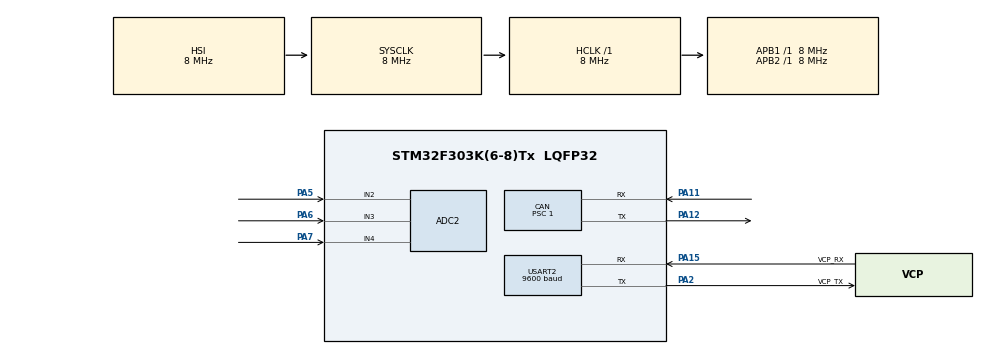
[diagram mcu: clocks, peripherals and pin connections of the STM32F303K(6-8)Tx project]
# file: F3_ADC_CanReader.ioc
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ADC2.Channel-0\#ChannelRegularConversion=ADC_CHANNEL_4
ADC2.Channel-1\#ChannelRegularConversion=ADC_CHANNEL_3
ADC2.Channel-2\#ChannelRegularConversion=ADC_CHANNEL_2
ADC2.ClockPrescaler=ADC_CLOCK_SYNC_PCLK_DIV4
ADC2.ContinuousConvMode=ENABLE
ADC2.DMAContinuousRequests=ENABLE
ADC2.NbrOfConversion=3
ADC2.NbrOfConversionFlag=1
ADC2.Offset-0\#ChannelRegularConversion=0
ADC2.Offset-1\#ChannelRegularConversion=0
ADC2.Offset-2\#ChannelRegularConversion=0
ADC2.OffsetNumber-0\#ChannelRegularConversion=ADC_OFFSET_NONE
ADC2.OffsetNumber-1\#ChannelRegularConversion=ADC_OFFSET_NONE
ADC2.OffsetNumber-2\#ChannelRegularConversion=ADC_OFFSET_NONE
ADC2.Rank-0\#ChannelRegularConversion=1
ADC2.Rank-1\#ChannelRegularConversion=2
ADC2.Rank-2\#ChannelRegularConversion=3
ADC2.SamplingTime-0\#ChannelRegularConversion=ADC_SAMPLETIME_61CYCLES_5
ADC2.SamplingTime-1\#ChannelRegularConversion=ADC_SAMPLETIME_61CYCLES_5
ADC2.SamplingTime-2\#ChannelRegularConversion=ADC_SAMPLETIME_61CYCLES_5
ADC2.SamplingTimeOPAMP-1\#ChannelRegularConversion=ADC_SAMPLETIME_4CYCLES_5
ADC2.SamplingTimeOPAMP-2\#ChannelRegularConversion=ADC_SAMPLETIME_4CYCLES_5
CAN.BS1=CAN_BS1_11TQ
CAN.BS2=CAN_BS2_4TQ
CAN.CalculateBaudRate=500000
CAN.CalculateTimeBit=2000
CAN.CalculateTimeQuantum=125.0
CAN.Prescaler=1
Dma.ADC2.0.Direction=DMA_PERIPH_TO_MEMORY
Dma.ADC2.0.Instance=DMA1_Channel2
Dma.ADC2.0.MemDataAlignment=DMA_MDATAALIGN_HALFWORD
Dma.ADC2.0.MemInc=DMA_MINC_ENABLE
Dma.ADC2.0.Mode=DMA_CIRCULAR
Dma.ADC2.0.PeriphDataAlignment=DMA_PDATAALIGN_HALFWORD
Dma.ADC2.0.PeriphInc=DMA_PINC_DISABLE
Dma.ADC2.0.Priority=DMA_PRIORITY_LOW
Dma.Request0=ADC2
Mcu.Family=STM32F3
Mcu.Name=STM32F303K(6-8)Tx
Mcu.Package=LQFP32
NVIC.CAN_RX0_IRQn=true\:0\:0\:false\:false\:true\:true\:true\:true
NVIC.DMA1_Channel2_IRQn=true\:0\:0\:false\:false\:true\:false\:true\:true
NVIC.PriorityGroup=NVIC_PRIORITYGROUP_4
PA11.Mode=CAN_Activate
PA11.Signal=CAN_RX
PA12.Mode=CAN_Activate
PA12.Signal=CAN_TX
PA13.GPIO_Label=SWDIO
PA13.Mode=Serial_Wire
PA13.Signal=SYS_JTMS-SWDIO
PA14.GPIO_Label=SWCLK
PA14.Mode=Serial_Wire
PA14.Signal=SYS_JTCK-SWCLK
PA15.GPIO_Label=VCP_RX
PA15.Mode=Asynchronous
PA15.Signal=USART2_RX
PA2.GPIO_Label=VCP_TX
PA2.Mode=Asynchronous
PA2.Signal=USART2_TX
PA5.Mode=IN2-Single-Ended
PA5.Signal=ADC2_IN2
PA6.Mode=IN3-Single-Ended
PA6.Signal=ADC2_IN3
PA7.Mode=IN4-Single-Ended
PA7.Signal=ADC2_IN4
PF0\ /\ OSC_IN.GPIO_Label=MCO
PF0\ /\ OSC_IN.Mode=HSE-External-Clock-Source
PF0\ /\ OSC_IN.Signal=RCC_OSC_IN
ProjectManager.HeapSize=0x200
ProjectManager.StackSize=0x400
ProjectManager.TargetToolchain=STM32CubeIDE
RCC.AHBFreq_Value=8000000
RCC.APB1Freq_Value=8000000
RCC.APB2Freq_Value=8000000
RCC.CortexFreq_Value=8000000
RCC.HSE_VALUE=8000000
RCC.HSI_VALUE=8000000
RCC.PLLMUL=RCC_PLL_MUL4
RCC.SYSCLKFreq_VALUE=8000000
USART2.BaudRate=9600
USART2.VirtualMode-Asynchronous=VM_ASYNC
board=NUCLEO-F303K8

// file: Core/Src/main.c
/* USER CODE BEGIN Header */
/**
  ******************************************************************************
  * @file           : main.c
  * @brief          : Main program body
  ******************************************************************************
  * @attention
  *
  * Copyright (c) 2024 STMicroelectronics.
  * All rights reserved.
  *
  * This software is licensed under terms that can be found in the LICENSE file
  * in the root directory of this software component.
  * If no LICENSE file comes with this software, it is provided AS-IS.
  *
  ******************************************************************************
  */
/* USER CODE END Header */
#include "main.h"

/* USER CODE BEGIN Includes */
#include <stdio.h>
/* USER CODE END Includes */

ADC_HandleTypeDef hadc2;
DMA_HandleTypeDef hdma_adc2;

CAN_HandleTypeDef hcan;

UART_HandleTypeDef huart2;

/* USER CODE BEGIN PV */
uint8_t myId[3]={0};
uint8_t CanId[3]={0};
  uint16_t result[3] = {0};

CAN_FilterTypeDef filter;
uint32_t id;
uint32_t dlc;
uint8_t data[8];
/* USER CODE END PV */

void SystemClock_Config(void);
static void MX_GPIO_Init(void);
static void MX_DMA_Init(void);
static void MX_USART2_UART_Init(void);
static void MX_ADC2_Init(void);
static void MX_CAN_Init(void);
/* USER CODE BEGIN PFP */
void HAL_CAN_RxFifo0MsgPendingCallback(CAN_HandleTypeDef *hcan){
	CAN_RxHeaderTypeDef RxHeader;
	uint8_t RxData[8];
	if(HAL_CAN_GetRxMessage(hcan,CAN_RX_FIFO0,&RxHeader,RxData)==HAL_OK){
		id = (RxHeader.IDE == CAN_ID_STD)? RxHeader.StdId : RxHeader.ExtId;     // ID
		dlc = RxHeader.DLC;// DLC
		CanId[0]=(id&0xF00)>>8;
		CanId[1]=(id&0x0F0)>>4;
		CanId[2]=(id&0x00F);
		if((myId[0]==CanId[0])&&(myId[1]==CanId[1])&&(myId[2]==CanId[2])){
			data[0] = RxData[0];                                                    // Data
			data[1] = RxData[1];
			data[2] = RxData[2];
			data[3] = RxData[3];
			data[4] = RxData[4];
			data[5] = RxData[5];
			data[6] = RxData[6];
			data[7] = RxData[7];
		}
	}
}
/* USER CODE END PFP */

int main(void)
{

  /* USER CODE BEGIN 1 */
    setbuf(stdout, NULL);
  /* USER CODE END 1 */

  /* MCU Configuration--------------------------------------------------------*/

  /* Reset of all peripherals, Initializes the Flash interface and the Systick. */
  HAL_Init();

  /* Configure the system clock */
  SystemClock_Config();

  /* Initialize all configured peripherals */
  MX_GPIO_Init();
  MX_DMA_Init();
  MX_USART2_UART_Init();
  MX_ADC2_Init();
  MX_CAN_Init();
  /* USER CODE BEGIN 2 */

  HAL_ADCEx_Calibration_Start(&hadc2, ADC_SINGLE_ENDED);

  HAL_ADC_Start_DMA(&hadc2, (uint32_t *)&result, 3);

  filter.FilterIdHigh = 0;
  filter.FilterIdLow = 0;
  filter.FilterMaskIdHigh = 0;
  filter.FilterMaskIdLow = 0;
  filter.FilterScale = CAN_FILTERSCALE_32BIT;
  filter.FilterFIFOAssignment = CAN_FILTER_FIFO0;
  filter.FilterBank = 0;
  filter.FilterMode = CAN_FILTERMODE_IDMASK;
  filter.SlaveStartFilterBank = 14;
  filter.FilterActivation = ENABLE;
  HAL_CAN_ConfigFilter(&hcan,&filter);

  HAL_CAN_ActivateNotification(&hcan,CAN_IT_RX_FIFO0_MSG_PENDING);
  HAL_CAN_Start(&hcan);
  /* USER CODE END 2 */

  /* Infinite loop */
  /* USER CODE BEGIN WHILE */
  while (1)
  {
	  for(uint8_t i = 0 ; i<3 ; i++){
		  myId[i]=result[i]/256;//0~4095 -> 0~15
	  }
	  printf("id[%d%d%d]-->%d,%d,%d,%d,%d,%d,%d,%d\r\n",myId[0],myId[1],myId[2],data[0],data[1],data[2],data[3],data[4],data[5],data[6],data[7]);
	  if((myId[0]==0) && (myId[1]==0) && (myId[2]==0)){
		  for(uint8_t j = 0 ; j<8; j++){
			  data[j]=0;
		  }
	  }
    /* USER CODE END WHILE */

  }
}

void SystemClock_Config(void)
{
  RCC_OscInitTypeDef RCC_OscInitStruct = {0};
  RCC_ClkInitTypeDef RCC_ClkInitStruct = {0};

  /** Initializes the RCC Oscillators according to the specified parameters
  * in the RCC_OscInitTypeDef structure.
  */
  RCC_OscInitStruct.OscillatorType = RCC_OSCILLATORTYPE_HSI;
  RCC_OscInitStruct.HSIState = RCC_HSI_ON;
  RCC_OscInitStruct.HSICalibrationValue = RCC_HSICALIBRATION_DEFAULT;
  RCC_OscInitStruct.PLL.PLLState = RCC_PLL_NONE;
  if (HAL_RCC_OscConfig(&RCC_OscInitStruct) != HAL_OK)
  {
    Error_Handler();
  }

  /** Initializes the CPU, AHB and APB buses clocks
  */
  RCC_ClkInitStruct.ClockType = RCC_CLOCKTYPE_HCLK|RCC_CLOCKTYPE_SYSCLK
                              |RCC_CLOCKTYPE_PCLK1|RCC_CLOCKTYPE_PCLK2;
  RCC_ClkInitStruct.SYSCLKSource = RCC_SYSCLKSOURCE_HSI;
  RCC_ClkInitStruct.AHBCLKDivider = RCC_SYSCLK_DIV1;
  RCC_ClkInitStruct.APB1CLKDivider = RCC_HCLK_DIV1;
  RCC_ClkInitStruct.APB2CLKDivider = RCC_HCLK_DIV1;

  if (HAL_RCC_ClockConfig(&RCC_ClkInitStruct, FLASH_LATENCY_0) != HAL_OK)
  {
    Error_Handler();
  }
}

static void MX_ADC2_Init(void)
{

  ADC_ChannelConfTypeDef sConfig = {0};

  /** Common config
  */
  hadc2.Instance = ADC2;
  hadc2.Init.ClockPrescaler = ADC_CLOCK_SYNC_PCLK_DIV4;
  hadc2.Init.Resolution = ADC_RESOLUTION_12B;
  hadc2.Init.ScanConvMode = ADC_SCAN_ENABLE;
  hadc2.Init.ContinuousConvMode = ENABLE;
  hadc2.Init.DiscontinuousConvMode = DISABLE;
  hadc2.Init.ExternalTrigConvEdge = ADC_EXTERNALTRIGCONVEDGE_NONE;
  hadc2.Init.ExternalTrigConv = ADC_SOFTWARE_START;
  hadc2.Init.DataAlign = ADC_DATAALIGN_RIGHT;
  hadc2.Init.NbrOfConversion = 3;
  hadc2.Init.DMAContinuousRequests = ENABLE;
  hadc2.Init.EOCSelection = ADC_EOC_SINGLE_CONV;
  hadc2.Init.LowPowerAutoWait = DISABLE;
  hadc2.Init.Overrun = ADC_OVR_DATA_OVERWRITTEN;
  if (HAL_ADC_Init(&hadc2) != HAL_OK)
  {
    Error_Handler();
  }

  /** Configure Regular Channel
  */
  sConfig.Channel = ADC_CHANNEL_4;
  sConfig.Rank = ADC_REGULAR_RANK_1;
  sConfig.SingleDiff = ADC_SINGLE_ENDED;
  sConfig.SamplingTime = ADC_SAMPLETIME_61CYCLES_5;
  sConfig.OffsetNumber = ADC_OFFSET_NONE;
  sConfig.Offset = 0;
  if (HAL_ADC_ConfigChannel(&hadc2, &sConfig) != HAL_OK)
  {
    Error_Handler();
  }

  /** Configure Regular Channel
  */
  sConfig.Channel = ADC_CHANNEL_3;
  sConfig.Rank = ADC_REGULAR_RANK_2;
  if (HAL_ADC_ConfigChannel(&hadc2, &sConfig) != HAL_OK)
  {
    Error_Handler();
  }

  /** Configure Regular Channel
  */
  sConfig.Channel = ADC_CHANNEL_2;
  sConfig.Rank = ADC_REGULAR_RANK_3;
  if (HAL_ADC_ConfigChannel(&hadc2, &sConfig) != HAL_OK)
  {
    Error_Handler();
  }

}

static void MX_CAN_Init(void)
{

  hcan.Instance = CAN;
  hcan.Init.Prescaler = 1;
  hcan.Init.Mode = CAN_MODE_NORMAL;
  hcan.Init.SyncJumpWidth = CAN_SJW_1TQ;
  hcan.Init.TimeSeg1 = CAN_BS1_11TQ;
  hcan.Init.TimeSeg2 = CAN_BS2_4TQ;
  hcan.Init.TimeTriggeredMode = DISABLE;
  hcan.Init.AutoBusOff = DISABLE;
  hcan.Init.AutoWakeUp = DISABLE;
  hcan.Init.AutoRetransmission = DISABLE;
  hcan.Init.ReceiveFifoLocked = DISABLE;
  hcan.Init.TransmitFifoPriority = DISABLE;
  if (HAL_CAN_Init(&hcan) != HAL_OK)
  {
    Error_Handler();
  }

}

static void MX_USART2_UART_Init(void)
{

  huart2.Instance = USART2;
  huart2.Init.BaudRate = 9600;
  huart2.Init.WordLength = UART_WORDLENGTH_8B;
  huart2.Init.StopBits = UART_STOPBITS_1;
  huart2.Init.Parity = UART_PARITY_NONE;
  huart2.Init.Mode = UART_MODE_TX_RX;
  huart2.Init.HwFlowCtl = UART_HWCONTROL_NONE;
  huart2.Init.OverSampling = UART_OVERSAMPLING_16;
  huart2.Init.OneBitSampling = UART_ONE_BIT_SAMPLE_DISABLE;
  huart2.AdvancedInit.AdvFeatureInit = UART_ADVFEATURE_NO_INIT;
  if (HAL_UART_Init(&huart2) != HAL_OK)
  {
    Error_Handler();
  }

}

static void MX_DMA_Init(void)
{

  /* DMA controller clock enable */
  __HAL_RCC_DMA1_CLK_ENABLE();

  /* DMA interrupt init */
  /* DMA1_Channel2_IRQn interrupt configuration */
  HAL_NVIC_SetPriority(DMA1_Channel2_IRQn, 0, 0);
  HAL_NVIC_EnableIRQ(DMA1_Channel2_IRQn);

}

static void MX_GPIO_Init(void)
{

  /* GPIO Ports Clock Enable */
  __HAL_RCC_GPIOF_CLK_ENABLE();
  __HAL_RCC_GPIOA_CLK_ENABLE();

}

/* USER CODE BEGIN 4 */
int _write(int file, char *ptr, int len)
{
  HAL_UART_Transmit(&huart2,(uint8_t *)ptr,len,10);
  return len;
}
/* USER CODE END 4 */

void Error_Handler(void)
{
  __disable_irq();
  while (1)
  {
  }
}
